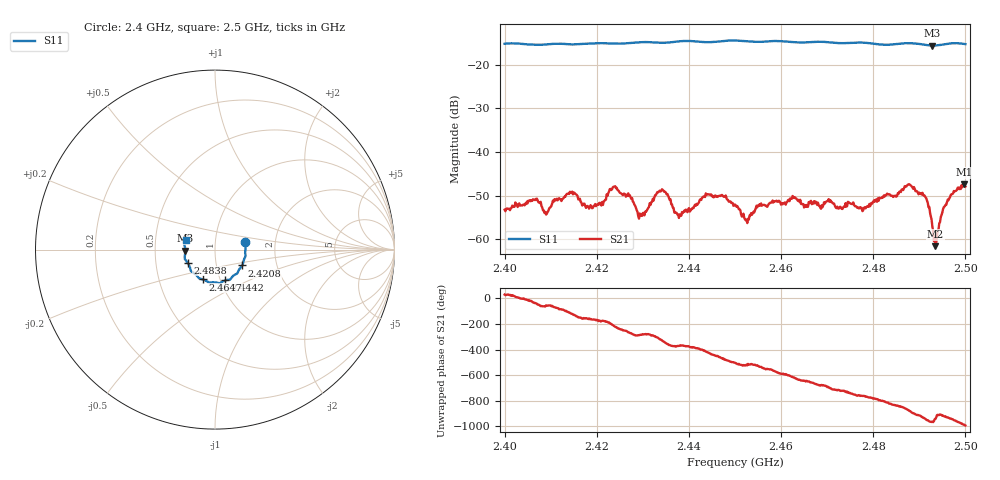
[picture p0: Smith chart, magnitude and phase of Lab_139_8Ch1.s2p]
# Hz S RI R 50
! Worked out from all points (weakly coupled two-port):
!   601 points, 2.4 GHz to 2.5 GHz, reference 50 ohm
!   highest |S21| = -47.38 dB at 2.4997 GHz (marker M1); lowest = -61.6 dB at 2.4935 GHz (marker M2)
!   lowest |S11| = -15.6 dB at 2.4928 GHz (marker M3), VSWR 1.40, Z = 35.8 - j0.415 ohm
!   |S11| at or under -10 dB: start of sweep to end of sweep
!   S12 and S22 are empty: the file has one direction only
!   S11 on the Smith chart (normalised r, x): 2.4 GHz: 1.40, +0.12; 2.4208 GHz: 1.33, -0.24; 2.4442 GHz: 1.05, -0.37; 2.4647 GHz: 0.83, -0.29; 2.4838 GHz: 0.73, -0.11; 2.5 GHz: 0.71, +0.08
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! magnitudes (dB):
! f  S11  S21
! 2.4 GHz  -15.2  -53.2
! 2.4167 GHz  -15.3  -51.6
! 2.4208 GHz  -15.1  -52.1
! 2.424 GHz  -15.2  -47.9
! 2.4295 GHz  -14.9  -54.7
! 2.4333 GHz  -15.0  -49.2
! 2.4378 GHz  -14.7  -55.1
! 2.4442 GHz  -14.9  -49.7
! 2.45 GHz  -14.5  -52.0
! 2.4525 GHz  -14.7  -55.5
! 2.4552 GHz  -14.8  -52.4
! 2.4647 GHz  -14.9  -51.9
! 2.4667 GHz  -14.8  -52.0
! 2.4778 GHz  -15.0  -53.3
! 2.4833 GHz  -15.5  -49.8
! 2.4838 GHz  -15.4  -50.1
! 2.4908 GHz  -15.4  -49.8
! 2.4928 GHz  -15.6  -57.1
! 2.4935 GHz  -15.6  -61.6
! 2.4957 GHz  -15.3  -52.2
! 2.4997 GHz  -15.3  -47.4
! 2.5 GHz  -15.3  -47.9
